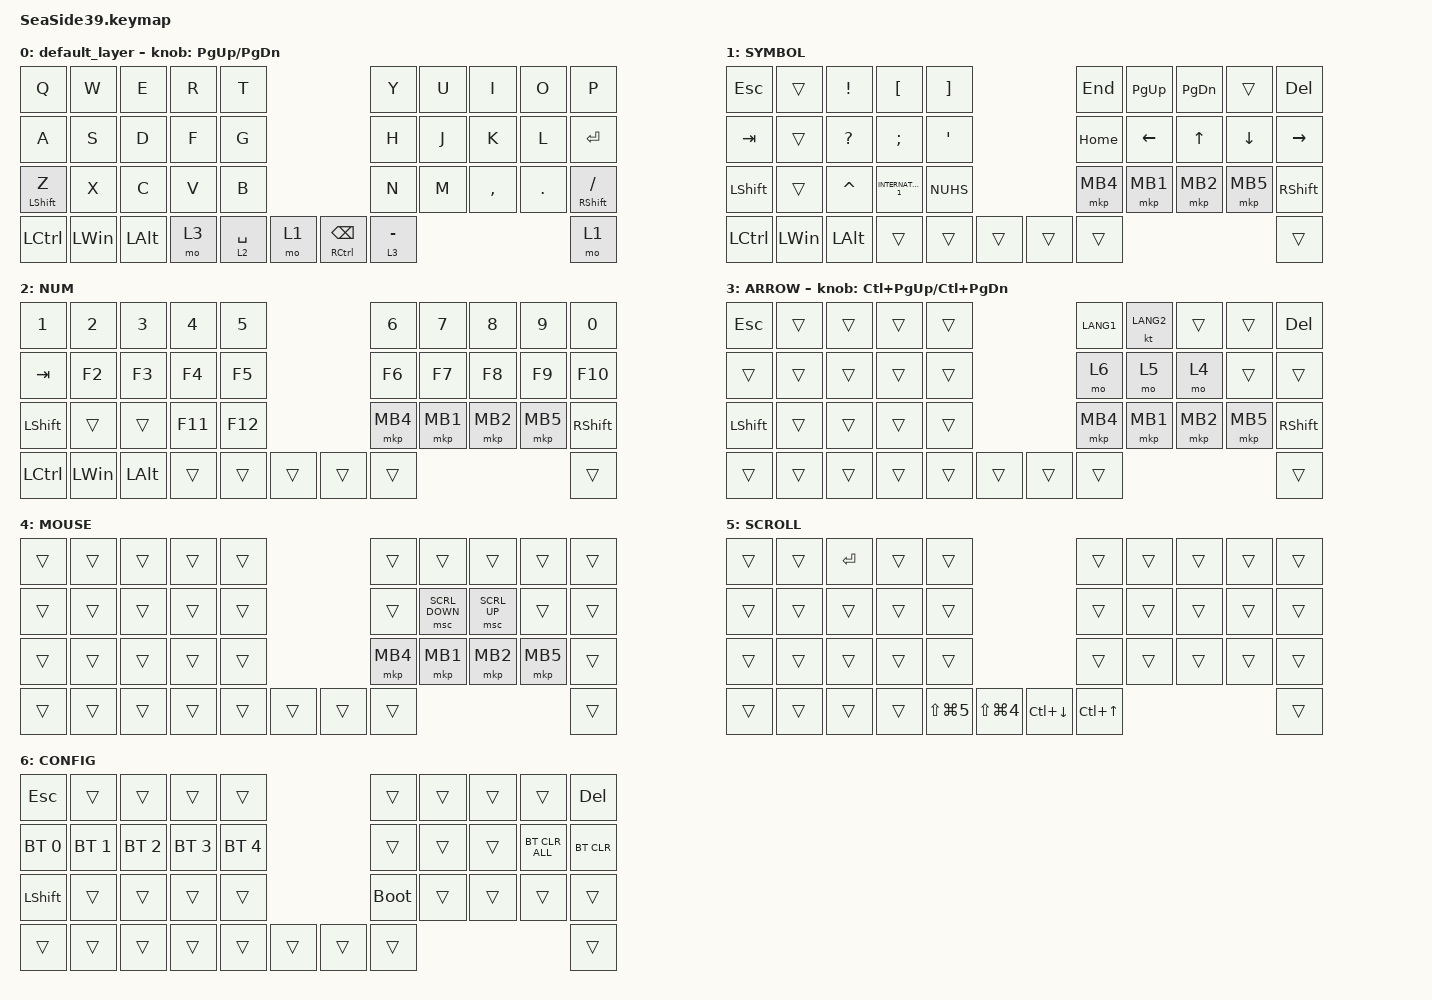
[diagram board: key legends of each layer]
#include <behaviors.dtsi>
#include <dt-bindings/zmk/bt.h>
#include <dt-bindings/zmk/keys.h>
#include <dt-bindings/zmk/pointing.h>

#define MOUSE 4
#define SCROLL 5
#define NUM 6

&mt {
    flavor = "tap-preferred";
    tapping-term-ms = <200>;
    quick-tap-ms = <0>;
};

&lt {
    flavor = "tap-preferred";
    tapping-term-ms = <150>;
    quick-tap-ms = <0>;
};

/ {
    /* ここから追記 */

    aliases {
        led-red = &led0;
        led-green = &led1;
        led-blue = &led2;
    };

    /* ここまで追記 */

    combos { compatible = "zmk,combos"; };

    macros {
        to_layer_0: to_layer_0 {
            compatible = "zmk,behavior-macro-one-param";
            #binding-cells = <1>;
            bindings = <&to 0 &macro_param_1to1 &kp MACRO_PLACEHOLDER>;
            label = "TO_LAYER_0";
        };
    };

    behaviors {
        lt_to_layer_0: lt_to_layer_0 {
            compatible = "zmk,behavior-hold-tap";
            label = "LAYER_TAP_TO_0";
            bindings = <&mo>, <&to_layer_0>;

            #binding-cells = <2>;
            tapping-term-ms = <180>;
        };
    };

    keymap {
        compatible = "zmk,keymap";

        default_layer {
            bindings = <
&kp Q             &kp W     &kp E         &kp R  &kp T                                        &kp Y        &kp U  &kp I      &kp O    &kp P
&kp A             &kp S     &kp D         &kp F  &kp G                                        &kp H        &kp J  &kp K      &kp L    &kp ENTER
&mt LEFT_SHIFT Z  &kp X     &kp C         &kp V  &kp B                                        &kp N        &kp M  &kp COMMA  &kp DOT  &mt RSHFT SLASH
&kp LCTRL         &kp LWIN  &kp LEFT_ALT  &mo 3  &lt 2 SPACE  &mo 1      &mt RCTRL BACKSPACE  &lt 3 MINUS                             &mo 1
            >;

            sensor-bindings = <&inc_dec_kp PG_UP PAGE_DOWN>;
        };

        SYMBOL {
            bindings = <
&kp ESCAPE      &trans    &kp EXCL      &kp LBKT             &kp RBKT                              &kp END   &kp PAGE_UP  &kp PAGE_DOWN  &trans    &kp DEL
&kp TAB         &trans    &kp QUESTION  &kp SEMICOLON        &kp SINGLE_QUOTE                      &kp HOME  &kp LEFT     &kp UP_ARROW   &kp DOWN  &kp RIGHT
&kp LEFT_SHIFT  &trans    &kp CARET     &kp INTERNATIONAL_1  &kp NUHS                              &mkp MB4  &mkp MB1     &mkp MB2       &mkp MB5  &kp RSHFT
&kp LCTRL       &kp LWIN  &kp LEFT_ALT  &trans               &trans            &trans      &trans  &trans                                          &trans
            >;
        };

        NUM {
            bindings = <
&kp NUMBER_1    &kp NUMBER_2  &kp NUMBER_3  &kp NUMBER_4  &kp N5                       &kp NUMBER_6  &kp N7    &kp N8    &kp N9    &kp N0
&kp TAB         &kp F2        &kp F3        &kp F4        &kp F5                       &kp F6        &kp F7    &kp F8    &kp F9    &kp F10
&kp LEFT_SHIFT  &trans        &trans        &kp F11       &kp F12                      &mkp MB4      &mkp MB1  &mkp MB2  &mkp MB5  &kp RIGHT_SHIFT
&kp LCTRL       &kp LWIN      &kp LEFT_ALT  &trans        &trans   &trans      &trans  &trans                                      &trans
            >;
        };

        ARROW {
            bindings = <
&kp ESC         &trans  &trans  &trans  &trans                      &kp LANG1  &kt LANG2  &trans    &trans    &kp DEL
&trans          &trans  &trans  &trans  &trans                      &mo 6      &mo 5      &mo 4     &trans    &trans
&kp LEFT_SHIFT  &trans  &trans  &trans  &trans                      &mkp MB4   &mkp MB1   &mkp MB2  &mkp MB5  &kp RIGHT_SHIFT
&trans          &trans  &trans  &trans  &trans  &trans      &trans  &trans                                    &trans
            >;

            sensor-bindings = <&inc_dec_kp LC(PAGE_UP) LC(PAGE_DOWN)>;
        };

        MOUSE {
            bindings = <
&trans  &trans  &trans  &trans  &trans                      &trans    &trans          &trans        &trans    &trans
&trans  &trans  &trans  &trans  &trans                      &trans    &msc SCRL_DOWN  &msc SCRL_UP  &trans    &trans
&trans  &trans  &trans  &trans  &trans                      &mkp MB4  &mkp MB1        &mkp MB2      &mkp MB5  &trans
&trans  &trans  &trans  &trans  &trans  &trans      &trans  &trans                                            &trans
            >;
        };

        SCROLL {
            bindings = <
&trans  &trans  &kp ENTER  &trans  &trans                                            &trans            &trans  &trans  &trans  &trans
&trans  &trans  &trans     &trans  &trans                                            &trans            &trans  &trans  &trans  &trans
&trans  &trans  &trans     &trans  &trans                                            &trans            &trans  &trans  &trans  &trans
&trans  &trans  &trans     &trans  &kp LS(LG(N5))  &kp LS(LG(N4))      &kp LC(DOWN)  &kp LC(UP_ARROW)                          &trans
            >;
        };

        CONFIG {
            bindings = <
&kp ESCAPE      &trans        &trans        &trans        &trans                            &trans       &trans  &trans  &trans          &kp DELETE
&bt BT_SEL 0    &bt BT_SEL 1  &bt BT_SEL 2  &bt BT_SEL 3  &bt BT_SEL 4                      &trans       &trans  &trans  &bt BT_CLR_ALL  &bt BT_CLR
&kp LEFT_SHIFT  &trans        &trans        &trans        &trans                            &bootloader  &trans  &trans  &trans          &trans
&trans          &trans        &trans        &trans        &trans        &trans      &trans  &trans                                       &trans
            >;
        };
    };
};
